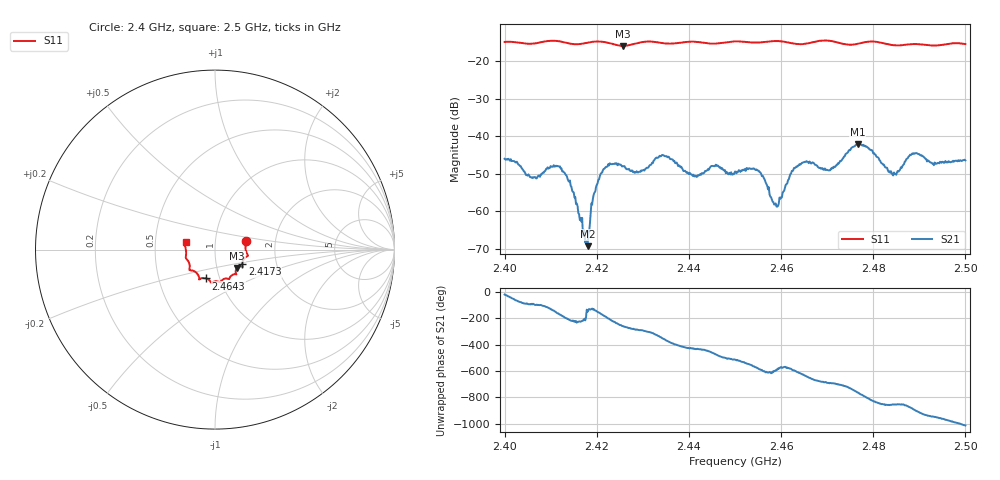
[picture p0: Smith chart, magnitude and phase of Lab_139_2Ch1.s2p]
# Hz S RI R 50
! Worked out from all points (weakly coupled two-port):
!   601 points, 2.4 GHz to 2.5 GHz, reference 50 ohm
!   highest |S21| = -42.08 dB at 2.4767 GHz (marker M1); lowest = -69.3 dB at 2.418 GHz (marker M2)
!   lowest |S11| = -15.9 dB at 2.4257 GHz (marker M3), VSWR 1.38, Z = 62.4 - j13.1 ohm
!   |S11| at or under -10 dB: start of sweep to end of sweep
!   S12 and S22 are empty: the file has one direction only
!   S11 on the Smith chart (normalised r, x): 2.4 GHz: 1.41, +0.15; 2.4173 GHz: 1.34, -0.23; 2.4643 GHz: 0.86, -0.28; 2.5 GHz: 0.72, +0.06
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2.4e9  0.1733 0.0497  0.00463 -0.00188  0 0  0 0
2.406e9  0.1705 0.000942  -0.00031 -0.00276  0 0  0 0
2.411833e9  0.1805 -0.036  -0.0039 -0.000669  0 0  0 0
2.4145e9  0.162 -0.0509  -0.00161 0.00138  0 0  0 0
2.416667e9  0.1529 -0.0746  -0.00052 0.000512  0 0  0 0
2.417333e9  0.1523 -0.082  -0.000478 0.000224  0 0  0 0
2.418e9  0.1525 -0.0883  -0.000304 -0.00016  0 0  0 0
2.419333e9  0.154 -0.0959  -0.00112 -0.00124  0 0  0 0
2.421e9  0.1541 -0.0964  -0.00319 -0.000563  0 0  0 0
2.425667e9  0.1226 -0.1024  -0.000627 0.00392  0 0  0 0
2.433333e9  0.1129 -0.1367  0.00472 0.00215  0 0  0 0
2.441333e9  0.0773 -0.1642  0.000751 -0.00282  0 0  0 0
2.45e9  0.0297 -0.1808  -0.00304 -0.00148  0 0  0 0
2.455167e9  0.000153 -0.1771  -0.00246 0.00244  0 0  0 0
2.459e9  -0.0215 -0.1839  -0.000744 0.000891  0 0  0 0
2.464333e9  -0.0501 -0.1606  -0.000666 0.00422  0 0  0 0
2.466667e9  -0.076 -0.16  0.00224 0.00381  0 0  0 0
2.4705e9  -0.0873 -0.1651  0.00314 0.00158  0 0  0 0
2.476667e9  -0.1234 -0.1172  0.00575 -0.00537  0 0  0 0
2.483333e9  -0.1408 -0.0895  -0.00244 -0.00232  0 0  0 0
2.489e9  -0.1625 -0.0463  -0.00583 -0.000536  0 0  0 0
2.5e9  -0.1636 0.0422  0.0018 0.00442  0 0  0 0
